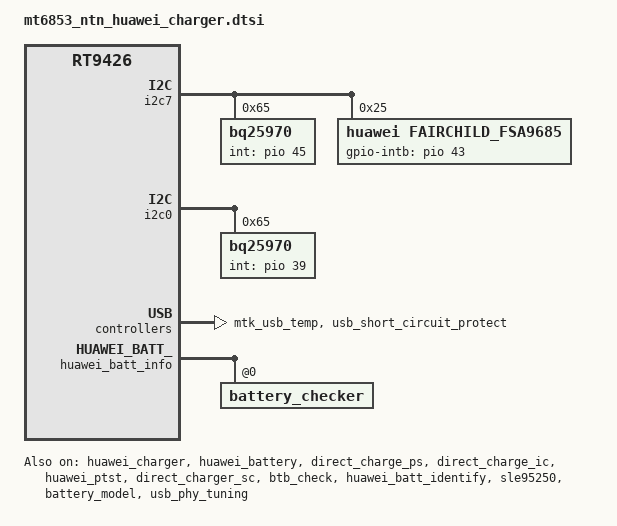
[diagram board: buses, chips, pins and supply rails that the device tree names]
&charger {
	ac_charger_current = <2500000>;
	ac_charger_input_current = <2300000>;
	fcp_charger_current = <2500000>;
	fcp_charger_input_current = <1400000>;
	non_std_ac_charger_current = <1200000>;
	pd_vbus_upper_bound = <9000000>;
	max_charger_voltage = <12000000>;
	bc12_charger = <22>; /* usb switch do bc12 */
	dpm_enable;
	battery_cv = <4480000>;
	sdp_battery_cv = <4450000>;
	iterm = <850000>; /* must change buck charger iterm sync */
	vbus_max_limit = <11500>;
	dynamic_iterm_en;
	jeita_temp_t3_to_t4_cv = <4100000>;
	jeita_temp_t2_to_t3_cv = <4480000>;
	jeita_temp_t1_to_t2_cv = <4450000>;
	jeita_temp_t0_to_t1_cv = <4450000>;
	jeita_temp_t3_to_t4_cur = <1400000>;
	jeita_temp_t2_to_t3_cur = <2800000>;
	jeita_temp_t1_to_t2_cur = <1200000>;
	jeita_temp_t0_to_t1_cur = <420000>;
	jeita_temp_t0_to_t1_iterm = <150000>;
	jeita_temp_t1_to_t2_iterm = <150000>;
	jeita_temp_t2_to_t3_iterm = <850000>;
	jeita_temp_t3_to_t4_iterm = <150000>;
	sdp_jeita_temp_t2_to_t3_cv = <4450000>;
	sdp_jeita_temp_t2_to_t3_iterm = <150000>;
	vdpm_buf_limit = <100>;
	vdpm_para =
			"-32767", "4000", "4300", "50",
			"4000", "4200", "4500", "50",
			"4200", "32767", "4600", "50";
	charge_full_design = <4300000>;
};

&pio {
	bq25970_main_irq_pins_default: bq25970_main_irq_pins_default {
		pins_cmd_dat {
			pinmux = <PINMUX_GPIO45__FUNC_GPIO45>;
			slew-rate = <0>;
			bias-pull-up;
		};
	};
	bq25970_aux_irq_pins_default: bq25970_aux_irq_pins_default {
		pins_cmd_dat {
			pinmux = <PINMUX_GPIO39__FUNC_GPIO39>;
			slew-rate = <0>;
			bias-pull-up;
		};
	};
	rt9426_irq_pins_default: rt9426_irq_pins_default {
		pins_cmd_dat {
			pinmux = <PINMUX_GPIO41__FUNC_GPIO41>;
			slew-rate = <0>;
			bias-pull-up;
		};
	};
	fsa9685_irq_pins_default: fsa9685_irq_pins_default {
		pins_cmd_dat {
			pinmux = <PINMUX_GPIO43__FUNC_GPIO43>;
			slew-rate = <0>;
			bias-pull-up;
		};
	};
	battct_swi_pins_default: battct_swi_pins_default {
		pins_cmd_dat {
			pinmux = <PINMUX_GPIO46__FUNC_GPIO46>;
			slew-rate = <0>;
			bias-disabled;
			input-enable;
		};
	};
	battct_id_pins_default: battct_id_pins_default {
		pins_cmd_dat {
			pinmux = <PINMUX_GPIO48__FUNC_GPIO48>;
			slew-rate = <0>;
			bias-disabled;
			output-high;
		};
	};
};

&i2c7 {
	bq25970@65 {
		compatible = "bq25970";
		pinctrl-names = "default";
		pinctrl-0 = <&bq25970_main_irq_pins_default>;
		gpio_int = <&pio 45 0x0>;
		switching_frequency = <675>;
		sense_r_config = <20>;
		sense_r_actual = <10>;
		reg = <0x65>;
		status = "ok";
	};

	fairchild_fsa9685@25 {
		compatible = "huawei,fairchild_fsa9685";
		reg = <0x25>;
		pinctrl-names = "default";
		pinctrl-0 = <&fsa9685_irq_pins_default>;
		fairchild_fsa9685,gpio-intb = <&pio 43 0x0>;
		fcp_support = <1>;
		scp_support = <1>;
		mhl_detect_disable = <1>;
		power_by_5v = <1>;
		close_bc12 = <1>;
		ignore_force_ac = <1>;
		/* for rt8979 */
		interrupt-names = "vbus_change", "device_change", "detach",
			"attach";
		/* auto_switch; */
		scp;
		dcd;
		dcd_timeout = <600>;  /* ms */
		intb_watchdog = <1000>;  /* ms */
		ovp_sel = <14500000>;  /* uV */
		status = "ok";
	};
	rt9426_battery@55{
		reg = <0x55>;
		rt,bat_name = "rt_battery";
		compatible = "richtek,rt9426";
		pinctrl-names = "default";
		pinctrl-0 = <&rt9426_irq_pins_default>;
		rt9426,gpio-intb = <&pio 41 0x0>;
		ntc_compensation_is = <1>;
		ntc_temp_compensation_para =
			"11000", "110",
			"10000", "100",
			"9000", "80",
			"8000", "60",
			"7000", "50",
			"6000", "40",
			"5000", "30",
			"3000", "20",
			"2000", "10";
		force_use_aux_cali_para;
		rt_config_ver = <8>;
		status = "disabled";
		battery0{
			batt_name = "SwdAtl";
			#include "rt9426_SwdAtl_4V45_4300mah_BT217.dtsi"
		};
		battery1{
			batt_name = "ScudAtl";
			#include "rt9426_ScudAtl_4V45_4300mah_BT217.dtsi"
		};
		battery2{
			batt_name = "CoslightDesay";
			#include "rt9426_CoslightDesay_4V45_4300mah_BT217.dtsi"
		};
	};
};

&i2c0 {
	bq25970@65 {
		compatible = "bq25970";
		pinctrl-names = "default";
		pinctrl-0 = <&bq25970_aux_irq_pins_default>;
		gpio_int = <&pio 39 0x0>;
		ic_role = <1>;
		switching_frequency = <675>;
		sense_r_config = <20>;
		sense_r_actual = <10>;
		reg = <0x65>;
		status = "ok";
	};
};
&huawei_charger {
	compatible = "huawei,charger";
	en_eoc_max_delay = <6>;
	status = "okay";
};

&huawei_battery {
	compatible = "huawei,battery";
	voltage_max_design = <4480000>;
	huawei,icl_current = <2300>;
	status = "okay";
};

&lk_charger{
	ac_charger_current = <1050000>;
	ac_charger_input_current = <1050000>;
	non_std_ac_charger_current = <1050000>;
	max_charger_voltage = <12000000>;
	is_power_path;
	poweron_charger_enable = <1>;
};

&direct_charge_ps {
	status = "ok";
};

&direct_charge_ic {
	/* ic_index  path_index  max_ibat  ibat_sample_point  vbat_sample_point */
	ic_para1 =
		"0", "0", "0", "0", "0",
		"1", "1", "0", "0", "1";
	mode_para =
		"sc_mode", "ic_para1";
	status = "ok";
};

&direct_charger {
	status = "disabled";
};

&huawei_ptst {
	dc_mmi_para = <45 0x01 1 5000 5>;
	status = "ok";
};

&direct_charger_sc {
	use_5A = <1>;
	adaptor_antifake_check_enable = <1>;
	adaptor_antifake_key_index = <2>;
	dc_volt_ratio = <2>;
	max_adaptor_vset = <11000>;
	init_adapter_vset = <8800>;
	delta_err_10v2p25a = <150>;
	vol_err_th = <300>;
	adaptor_leakage_current_th = <600>;
	high_temp_hysteresis = <1>;
	gain_curr_10v2a = <300>;
	gain_curr_10v2p25a = <500>;
	init_delt_vset = <450>;
	vstep = <20>;
	max_dc_bat_vol = <4380>;
	max_current_for_none_standard_cable = <6000>;
	volt_para =
		"4150", "8400", "6300",
		"4250", "6300", "5040",
		"4300", "5040", "4200",
		"4450", "4200", "2940",
		"4460", "2940", "1000";
	volt_para1 =
		"4250", "12500", "8400",
		"4300", "8400", "6300",
		"4380", "6300", "5040",
		"4450", "5040", "4200",
		"4460", "4200", "1000";
	bat_para =
		"SwdAtl", "10", "20", "volt_para",
		"SwdAtl", "20", "45", "volt_para1",
		"ScudAtl", "10", "20", "volt_para",
		"ScudAtl", "20", "45", "volt_para1",
		"CoslightDesay", "10", "20", "volt_para",
		"CoslightDesay", "20", "45", "volt_para1",
		"default", "10", "20", "volt_para",
		"default", "20", "45", "volt_para1";
	second_resist_para =
		"0", "250", "0",
		"250", "450", "8000";
	vbat_error =
		"3", "120", "2", "-1",
		"3", "80", "1", "8000";
	vstep_para =
			"2000", "80";
	compensate_r = <0>;
	cc_cable_detect_enable = <1>;
	full_path_res_max = <500>;
	scp_work_on_charger = <1>;
	standard_cable_full_path_res_max = <500>;
	first_cc_stage_timer_in_min = <14>;
	stage_need_to_jump = "-1";
	is_show_ico_first = <1>;
	is_send_cable_type = <0>;
	support_multi_ic = <1>;
	product_max_pwr = <66000>;
	ui_max_pwr = <40000>;
	10v4a_cur_para =
		"-32767", "11000", "4000";
	rt_test_para =
		/* first:sc second:mainsc third:auxsc */
		"3000", "105",
		"3000", "105",
		"3000", "105";
	temp_para =
		"-32767", "10", "0",
		"10", "45", "12500",
		"45", "32767", "0";
	resist_para =
		"0", "300", "6000",
		"300", "500", "5000";
	std_resist_para =
		"0", "300", "12500",
		"300", "500", "5000";
	10v2p25a_cur_para =
		"-32767", "5500",  "2000",
		"5500",   "9000",  "2500",
		"9000",   "10000", "2250",
		"10000",  "10500", "2000",
		"10500",  "32767", "1500";
	adapter_max_power_time_para =
		"3", "600", "6000",
		"4", "1200", "3000",
		"5", "600", "6000",
		"6", "600", "6000",
		"7", "600", "6000",
		"8", "600", "6000",
		"9", "1200", "3000",
		"10", "1200", "3000",
		"12", "600", "6000",
		"13", "600", "6000",
		"14", "600", "6000",
		"15", "1200", "3000";
	status = "ok";
};

&btb_check {
	vol_check_para = "1", "1", "2700", "4700", "120", "3", "0";
	status = "ok";
};

&bat_gm30 {
	bat_para =
		"SwdAtl", "240000", "340000",
		"ScudAtl","560000","720000",
		"CoslightDesay","120000","220000";
	NO_BAT_TEMP_COMPENSATE = <1>;
	ntc_compensation_is = <1>;
	ntc_temp_compensation_para =
		"11000", "110",
		"10000", "100",
		"9000", "80",
		"8000", "60",
		"7000", "50",
		"6000", "40",
		"5000", "30",
		"3000", "20",
		"2000", "10";
	min_fcc = <3010000>;
	max_fcc = <4300000>;
	dlpt_optimization;
	CAR_TUNE_VALUE = <(500)>;
	ACTIVE_TABLE = <(0)>;
	MULTI_BATTERY = <0>;
	g_FG_PSEUDO100_T0 = <(97)>;
	g_FG_PSEUDO100_T1 = <(97)>;
	g_FG_PSEUDO100_T2 = <(97)>;
	g_FG_PSEUDO100_T3 = <(97)>;
	g_FG_PSEUDO100_T4 = <(97)>;
	#include "SwdAtl_4V44_4300mah_BT217.dtsi"
	#include "ScudAtl_4V44_4300mah_BT217.dtsi"
	#include "CoslightDesay_4V44_4300mah_BT217.dtsi"
};

&usb_c_pinctrl {
	status = "disabled";
};

&mt6360_pmu {
	mt6360,intr_gpio_num = <10>; /* direct defined GPIO num */
	mt6360,intr_gpio = <&pio 10 0x0>;
	chg {
		ieoc = <850000>;
		ircmp_resistor = <0>;
	};
};

&mt6360_typec {
	mt6360pd,intr_gpio_num = <9>; /* direct defined GPIO num */
	mt6360pd,intr_gpio = <&pio 9 0x0>;
};

&mtk_usb_temp {
	status = "ok";
};

&usb_short_circuit_protect {
	status = "ok";
};

&huawei_batt_identify {
	pinctrl-names = "default";
	pinctrl-0 = <&battct_id_pins_default>;
	gpios = <&pio 48 0x0>;
	id_voltage_gpiov = <0 1>;
	id_sn_gpiov = <0 0>;
	status = "ok";
};

&huawei_batt_info {
	status = "ok";
	shield_ct_sign = <3>;
	battery_checker@0 {
		matchable = <&sle95250>;
		status = "ok";
	};
};

&sle95250 {
	pinctrl-names = "default";
	pinctrl-0 = <&battct_swi_pins_default>;
	onewire-gpio = <&pio 46 0x0>;
	product_id0 = <1>;
	product_id2 = <3>;
	gpio_sn_mode_val = <0>;
	dip_check = <0>;
	gpio_swi = <46>;
	gpio_id_mode = <48>;
	gpio_swi_drv = <3>;
	status = "ok";
};

&battery_model {
	bat_id_table =
		"SwdAtl", "240000", "340000", "IA",
		"ScudAtl","560000","720000","CA",
		"CoslightDesay","120000","220000","YG";
	design_fcc = <4300>;
	id_adc_channel = <1001>; /* '1001' means used mt6360 usb id adc */
	status = "ok";
};

&power_thermalzone {
	status = "ok";
	sensors{
		sensor0{
			adc_channel = <5>;
		};
	};
};

&usb_phy_tuning {
		h_u2_vrt_ref = <4>;
		h_u2_term_ref = <3>;
		h_u2_enhance = <1>;
		d_u2_vrt_ref = <4>;
		d_u2_term_ref = <2>;
		d_u2_enhance = <2>;
		status = "ok";
};
